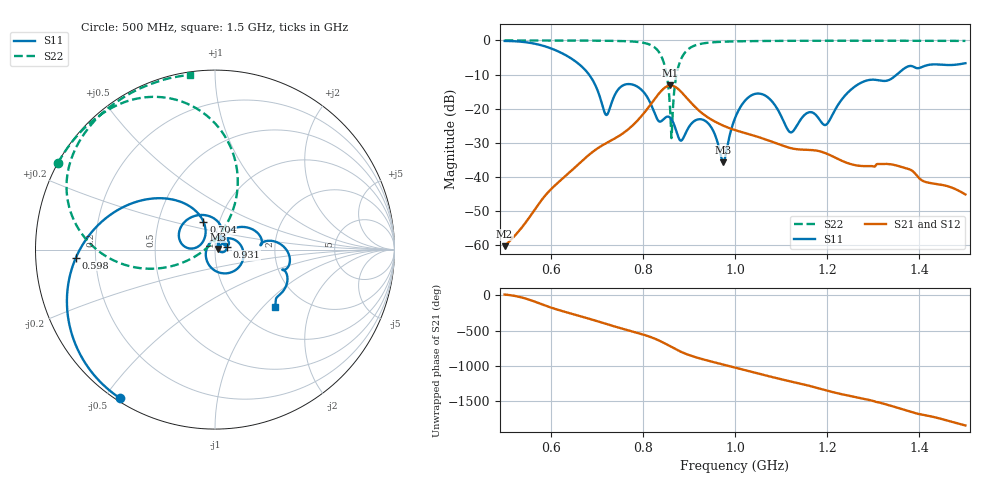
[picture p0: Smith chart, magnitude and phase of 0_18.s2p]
! TOUCHSTONE file generated by CST MICROWAVE STUDIO
! Date and time: Mon Sep 28 14:08:57 2020
! Project name: Scenario_1_Free_SPace.cst
! Parameters = {dx1=467.7; L_HA=400; MT=2.54; Rad_Dielectric=30; Rad_Lower=7.3; Rad_Upper=30; a_HA=580; a_WG=246; b_HA=500; b_WG=121; c_HA=0; c_WG=187; d_feed=85; h_feed=15; h_lower=18; h_upper=40}
! Header version: 2018
! Port assignment regex: !\s*Touchstone port\s*([0-9]+)\s*=\s*(CST MWS port|CST DS port)\s*([0-9]+|Zmin|Zmax)\s*\(\"(.*)\"\)(\s*mode\s*([0-9]+))?.*
! Touchstone port assignment:
! Touchstone port 1 = CST MWS port 1 ("")
! Touchstone port 2 = CST MWS port 2 ("")
# GHz S DB R 50
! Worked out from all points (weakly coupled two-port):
!   1003 points, 500 MHz to 1.5 GHz, reference 50 ohm
!   highest |S21| = -13.20 dB at 860 MHz (marker M1); lowest = -60.4 dB at 500 MHz (marker M2)
!   lowest |S11| = -35.8 dB at 974 MHz (marker M3), VSWR 1.03, Z = 51.6 + j0.389 ohm
!   |S11| at or under -10 dB: 683.1 MHz to 1.351 GHz (668.2 MHz wide, 65.7 % of centre)
!   |S22| runs from -28.7 to 0.0 dB; largest |S21 - S12| = 0.0055
!   S11 on the Smith chart (normalised r, x): 500 MHz: 0.01, -0.55; 598 MHz: 0.13, -0.03; 704 MHz: 0.84, +0.27; 931 MHz: 1.14, +0.04; 1.5 GHz: 1.45, -1.17
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0.5  -0.15 -122.5  -60.37 12.7  -60.37 12.7  -0.01 151.1
0.598  -2.20 -176.7  -44.03 -166.2  -44.03 -166.3  -0.02 144.3
0.667  -7.61 136.6  -35.48 61.1  -35.48 61.1  -0.04 138.4
0.704  -15.47 112.5  -31.47 -12.6  -31.47 -12.6  -0.08 134.4
0.721  -21.89 147.7  -30.11 -46.8  -30.11 -46.8  -0.10 132.3
0.75  -13.87 165.4  -27.87 -101.3  -27.87 -101.3  -0.17 127.8
0.783  -13.21 120.8  -24.27 -160.5  -24.27 -160.6  -0.37 119.9
0.834  -23.62 72.3  -15.74 83.2  -15.74 83.2  -3.23 88.9
0.85  -22.52 74.4  -13.64 31.1  -13.64 31.1  -8.89 69.6
0.86  -22.77 55.9  -13.20 -4.6  -13.20 -4.6  -22.51 76.3
0.865  -23.84 46.3  -13.30 -22.4  -13.30 -22.4  -20.53 -164.3
0.884  -29.35 57.5  -15.21 -84.0  -15.21 -84.0  -5.17 -172.9
0.931  -23.31 13.5  -21.61 171.9  -21.61 171.9  -0.86 156.0
0.974  -35.78 13.4  -24.97 98.6  -24.97 98.6  -0.38 144.9
1  -22.82 52.1  -26.30 55.9  -26.30 55.9  -0.28 140.7
1.048  -15.59 -23.4  -28.22 -24.9  -28.22 -24.9  -0.18 135.0
1.12  -26.95 158.8  -31.56 -140.1  -31.56 -140.1  -0.11 128.2
1.167  -21.11 29.5  -32.17 146.7  -32.17 146.7  -0.10 124.4
1.197  -24.78 35.0  -33.11 93.0  -33.11 93.0  -0.10 122.1
1.262  -13.35 35.3  -36.63 -4.1  -36.63 -4.1  -0.08 117.1
1.334  -11.62 7.8  -36.28 -118.8  -36.28 -118.8  -0.09 111.6
1.5  -6.69 -43.5  -45.19 -46.3  -45.20 -46.3  -0.14 98.1
